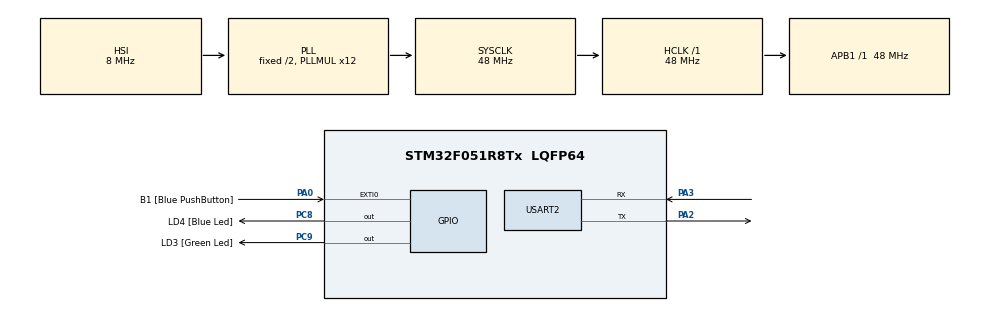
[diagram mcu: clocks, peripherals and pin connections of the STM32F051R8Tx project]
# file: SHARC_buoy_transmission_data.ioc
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Mcu.Family=STM32F0
Mcu.Name=STM32F051R8Tx
Mcu.Package=LQFP64
PA0.GPIO_Label=B1 [Blue PushButton]
PA0.GPIO_ModeDefaultEXTI=GPIO_MODE_EVT_RISING
PA0.Signal=GPXTI0
PA13.GPIO_Label=SWDIO
PA13.Mode=Serial_Wire
PA13.Signal=SYS_SWDIO
PA14.GPIO_Label=SWCLK
PA14.Mode=Serial_Wire
PA14.Signal=SYS_SWCLK
PA2.Mode=Asynchronous
PA2.Signal=USART2_TX
PA3.Mode=Asynchronous
PA3.Signal=USART2_RX
PC8.GPIO_Label=LD4 [Blue Led]
PC8.Signal=GPIO_Output
PC9.GPIO_Label=LD3 [Green Led]
PC9.Signal=GPIO_Output
ProjectManager.HeapSize=0x200
ProjectManager.StackSize=0x400
ProjectManager.TargetToolchain=STM32CubeIDE
RCC.AHBFreq_Value=48000000
RCC.APB1Freq_Value=48000000
RCC.APB1TimFreq_Value=48000000
RCC.HCLKFreq_Value=48000000
RCC.PLLMUL=RCC_PLL_MUL12
RCC.SYSCLKFreq_VALUE=48000000
RCC.SYSCLKSource=RCC_SYSCLKSOURCE_PLLCLK
USART2.VirtualMode-Asynchronous=VM_ASYNC
board=STM32F0DISCOVERY

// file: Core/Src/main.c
/* USER CODE BEGIN Header */
/**
  *************************************
Info:		SHARC buoy compression and encryption
Author:		Tristyn Ferreiro and Shameera Cassim
*************************************
This code compresses and encrypts data on the stm32.

Code is also provided to send data from the STM32 to other devices using UART protocol
by using HAL. You will need Putty or a Python script to read from the serial port on your PC.

In future versions, the data will be read from the sensor HAT ICM2098 chip
  ******************************************************************************
  */
/* USER CODE END Header */
#include "main.h"

/* USER CODE BEGIN Includes */
#include "stdio.h"
#include "stdlib.h"
#include "string.h"
/* USER CODE END Includes */

/* USER CODE BEGIN PD */

/* FOR COMPRESSION */
#define EI 11  /* typically 10..13 */
#define EJ  5  /* typically 4..5 */
#define P   1  /* If match length <= P then output one character */
#define N (1 << EI)  /* buffer size */
#define F ((1 << EJ) + 1)  /* lookahead buffer size */
//#define waveHat
/* USER CODE END PD */

 UART_HandleTypeDef huart2;

/* USER CODE BEGIN PV */
 uint8_t rxdata[4];
 int numRecordings =0; // this keeps track of the number of recordings.

 int bit_buffer = 0, bit_mask = 128;
 unsigned long codecount = 0, textcount = 0;
 unsigned char buffer[N * 2];
 // needs to be at least the size of the input data (minimum). this size should be the limit of data stored at any one time
 char compressed[4970000];
 int compressedBits =0;

 char inputData [200];

/* USER CODE END PV */

void SystemClock_Config(void);
static void MX_GPIO_Init(void);
static void MX_USART2_UART_Init(void);
/* USER CODE BEGIN PFP */
void pause_sec(float x);
void store(int bitbuffer);
void putbit1(void);
void flush_bit_buffer(void);
void output1(int c);
void output2(int x, int y);
void encode(char inputData[]);

/* USER CODE END PFP */

/* USER CODE BEGIN 0 */
//void HAL_UART_RxCpltCallback(UART_HandleTypeDef *huart)
//{
//	HAL_UART_Receive_IT(&huart2, rxdata,4); //restart interupt reception
//}
/* USER CODE END 0 */

int main(void)
{

  /* MCU Configuration--------------------------------------------------------*/

  /* Reset of all peripherals, Initializes the Flash interface and the Systick. */
  HAL_Init();

  /* Configure the system clock */
  SystemClock_Config();

  /* Initialize all configured peripherals */
  MX_GPIO_Init();
  MX_USART2_UART_Init();
  /* USER CODE BEGIN 2 */
  //HAL_UART_Receive_IT(&huart2, rxdata,4);

  // data is used to imitate the data that will be gathered from the sense HAT in future.

  char inputArray[] = "0.054000001,6,0.0024,-0.0006,3.856600046,-0.061000001,-0.061000001,0,34.83589935\n"
		  "0.066,7,0.0048,-0.003,4.239200115,0,-0.061000001,0,34.84180069\n"
		  "0.07,8,0.0048,-0.003,4.239200115,0,-0.061000001,0,34.84180069\n"
		  "0.082999997,9,0.0006,-0.006,4.485300064,0,-0.061000001,0,34.83589935\n"
		  "0.085000001,10,0.0006,-0.006,4.485300064,0,-0.061000001,0,34.83589935\n"
		  "0.101999998,11,-0.0006,-0.0048,4.633200169,-0.061000001,-0.061000001,0,34.81240082\n"
		  "0.109999999,12,0,-0.0042,4.732600212,-0.061000001,-0.061000001,0,34.82410049\n"
		  "0.112999998,13,0,-0.0042,4.732600212,-0.061000001,-0.061000001,0,34.82410049\n"
		  "0.131999999,14,0.003,-0.003,4.794199944,0,-0.061000001,0,34.83000183\n"
		  "0.140000001,15,-0.0006,-0.003,4.829599857,-0.061000001,-0.061000001,0,34.83000183\n"
		  "0.143999994,16,-0.0006,-0.003,4.829599857,-0.061000001,-0.061000001,0,34.83000183\n"
		  "0.156000003,17,-0.0006,-0.003,4.829599857,-0.061000001,-0.061000001,0,34.83000183\n"
		  "0.164000005,18,0,-0.006,4.858300209,-0.061000001,-0.061000001,0,34.81240082\n"
		  "0.172999993,19,-0.003,-0.0054,4.869699955,-0.061000001,-0.061000001,0,34.81240082\n"
		  "0.174999997,20,-0.003,-0.0054,4.869699955,-0.061000001,-0.061000001,0,34.81240082\n"
		  "0.187999994,21,-0.0042,-0.0054,4.879799843,0,-0.061000001,-0.061000001,34.84180069\n"
		  "0.192000002,22,-0.0042,-0.0054,4.879799843,0,-0.061000001,-0.061000001,34.84180069\n"
		  "0.211999997,23,-0.0054,-0.006,4.889999866,0,-0.061000001,0,34.81240082\n"
		  "0.221000001,24,-0.0072,-0.0042,4.89659977,-0.061000001,-0.061000001,0,34.83000183\n"
		  "0.224999994,25,-0.0072,-0.0042,4.89659977,-0.061000001,-0.061000001,0,34.83000183\n"
		  "0.241999999,26,-0.006,-0.0048,4.901400089,-0.061000001,-0.061000001,0,34.83000183\n"
		  "0.250999987,27,-0.003,-0.0012,4.902599812,-0.061000001,-0.061000001,-0.061000001,34.82410049\n"
		  "0.254999995,28,-0.003,-0.0012,4.902599812,-0.061000001,-0.061000001,-0.061000001,34.82410049\n"
		  "0.268000007,29,-0.0036,-0.0036,4.90320015,-0.061000001,-0.061000001,0,34.83589935\n"
		  "0.275999993,30,-0.003,0,4.899600029,0,-0.061000001,0,34.83000183\n"
		  "0.280000001,31,-0.003,0,4.899600029,0,-0.061000001,0,34.83000183\n"
		  "0.301999986,32,-0.003,-0.0006,4.900800228,0,-0.061000001,0,34.83000183\n"
		  "0.31099999,33,-0.0006,-0.0006,4.901400089,-0.061000001,-0.061000001,-0.061000001,34.84180069\n"
		  "0.31400001,34,-0.0006,-0.0006,4.901400089,-0.061000001,-0.061000001,-0.061000001,34.84180069\n"
		  "0.326000005,35,0,-0.0006,4.901400089,-0.061000001,-0.061000001,0,34.85350037\n"
		  "0.330000013,36,0,-0.0006,4.901400089,-0.061000001,-0.061000001,0,34.85350037";

  //This displays the header which explains the formating of the data outputed.
  uint8_t header2[81];
  sprintf(header2, "\r\nAccel X (g),Accel Y (g),Accel Z (g),Gyro X (dps),Gyro Y (dps),Gyro Z (dps),Temp");
  HAL_UART_Transmit(&huart2, header2, sizeof(header2), 1000);

  /* USER CODE END 2 */

  /* Infinite loop */
  while (1)
  {

    /* USER CODE BEGIN 3 */

	/*
	float accel[3];
	float gyro[3];
	float temp;

	while(numRecordings<(sizeof(data)/sizeof(data[0]))){
		pause_sec(2); //delay is implemented

		for(int i =0; i<3;i++){
		 		accel[i]=data[numRecordings][i];
		 		gyro[i]=data[numRecordings][i+3];
		}
		temp=data[numRecordings][6];

	    uint8_t msg[100];
	 */
	  /*
	  	      * FORMATTING BREAK DOWN:
	  	      * 0: the reading number (k-value)
	  	      *
	  	      * 94-100: spaces added at the end as buffer in case additional characters (like negative signs) appear
	  	      */
	  /*
	     sprintf(msg, "\r\n%.9f,%.9f,%.9f,%.9f,%.9f,%.9f,%.9f         ",accel[0],accel[1],accel[2],gyro[0],gyro[1],gyro[2],temp);
	     //sprintf(msg, "\r\n%.4f,%.4f,%.9f,%.9f,%.9f,%.9f,%.9f         ",accel[0],accel[1],accel[2],gyro[0],gyro[1],gyro[2],temp);

	  */

	  encode(inputArray);

	  uint8_t msg[compressedBits];
	  sprintf(msg, "%s",compressed);
	  HAL_UART_Transmit(&huart2, msg, sizeof(msg), 1000);

	  numRecordings++; //used for determining what size the compressed array should be set to
  }

  /* USER CODE END 3 */
}

void SystemClock_Config(void)
{
  RCC_OscInitTypeDef RCC_OscInitStruct = {0};
  RCC_ClkInitTypeDef RCC_ClkInitStruct = {0};

  /** Initializes the RCC Oscillators according to the specified parameters
  * in the RCC_OscInitTypeDef structure.
  */
  RCC_OscInitStruct.OscillatorType = RCC_OSCILLATORTYPE_HSI;
  RCC_OscInitStruct.HSIState = RCC_HSI_ON;
  RCC_OscInitStruct.HSICalibrationValue = RCC_HSICALIBRATION_DEFAULT;
  RCC_OscInitStruct.PLL.PLLState = RCC_PLL_ON;
  RCC_OscInitStruct.PLL.PLLSource = RCC_PLLSOURCE_HSI;
  RCC_OscInitStruct.PLL.PLLMUL = RCC_PLL_MUL12;
  RCC_OscInitStruct.PLL.PREDIV = RCC_PREDIV_DIV1;
  if (HAL_RCC_OscConfig(&RCC_OscInitStruct) != HAL_OK)
  {
    Error_Handler();
  }

  /** Initializes the CPU, AHB and APB buses clocks
  */
  RCC_ClkInitStruct.ClockType = RCC_CLOCKTYPE_HCLK|RCC_CLOCKTYPE_SYSCLK
                              |RCC_CLOCKTYPE_PCLK1;
  RCC_ClkInitStruct.SYSCLKSource = RCC_SYSCLKSOURCE_PLLCLK;
  RCC_ClkInitStruct.AHBCLKDivider = RCC_SYSCLK_DIV1;
  RCC_ClkInitStruct.APB1CLKDivider = RCC_HCLK_DIV1;

  if (HAL_RCC_ClockConfig(&RCC_ClkInitStruct, FLASH_LATENCY_1) != HAL_OK)
  {
    Error_Handler();
  }
}

static void MX_USART2_UART_Init(void)
{

  huart2.Instance = USART2;
  huart2.Init.BaudRate = 9600;
  huart2.Init.WordLength = UART_WORDLENGTH_8B;
  huart2.Init.StopBits = UART_STOPBITS_1;
  huart2.Init.Parity = UART_PARITY_NONE;
  huart2.Init.Mode = UART_MODE_TX_RX;
  huart2.Init.HwFlowCtl = UART_HWCONTROL_NONE;
  huart2.Init.OverSampling = UART_OVERSAMPLING_16;
  huart2.Init.OneBitSampling = UART_ONE_BIT_SAMPLE_DISABLE;
  huart2.AdvancedInit.AdvFeatureInit = UART_ADVFEATURE_NO_INIT;
  if (HAL_UART_Init(&huart2) != HAL_OK)
  {
    Error_Handler();
  }

}

static void MX_GPIO_Init(void)
{
  GPIO_InitTypeDef GPIO_InitStruct = {0};

  /* GPIO Ports Clock Enable */
  __HAL_RCC_GPIOA_CLK_ENABLE();
  __HAL_RCC_GPIOC_CLK_ENABLE();

  /*Configure GPIO pin Output Level */
  HAL_GPIO_WritePin(GPIOC, LD4_Pin|LD3_Pin, GPIO_PIN_RESET);

  /*Configure GPIO pin : B1_Pin */
  GPIO_InitStruct.Pin = B1_Pin;
  GPIO_InitStruct.Mode = GPIO_MODE_EVT_RISING;
  GPIO_InitStruct.Pull = GPIO_NOPULL;
  HAL_GPIO_Init(B1_GPIO_Port, &GPIO_InitStruct);

  /*Configure GPIO pins : LD4_Pin LD3_Pin */
  GPIO_InitStruct.Pin = LD4_Pin|LD3_Pin;
  GPIO_InitStruct.Mode = GPIO_MODE_OUTPUT_PP;
  GPIO_InitStruct.Pull = GPIO_NOPULL;
  GPIO_InitStruct.Speed = GPIO_SPEED_FREQ_LOW;
  HAL_GPIO_Init(GPIOC, &GPIO_InitStruct);

}

/* USER CODE BEGIN 4 */
void pause_sec(float x)
{
	/* Delay program execution for x seconds */

	//declare loop variables
	int i, j, k= 0;

	/*
	 * run through 2 for loops incrementing counter to ensure loop runs (no actual impact on code)
	 * Multiplying by x gives the delay for x seconds
	 */
	for (i = 0; i < 630; i++) {
		for(j = 0; j < 110*x; j++) { //
			k++; // this is added to ensure that the loop does run
		}
	}
}
/********************************
 * THIS IS THE COMPRESSION CODE
 *******************************/
void store(int bitbuffer){
    compressed[compressedBits]=bitbuffer;
    compressedBits++;
}

void putbit1(void)
{
    bit_buffer |= bit_mask;
    if ((bit_mask >>= 1) == 0) {
        store(bit_buffer);
        bit_buffer = 0;  bit_mask = 128;  codecount++;
    }
}

void putbit0(void)
{
    if ((bit_mask >>= 1) == 0) {
        store(bit_buffer);
        bit_buffer = 0;  bit_mask = 128;  codecount++;
    }
}

void flush_bit_buffer(void)
{
    if (bit_mask != 128) {
        store(bit_buffer);
        codecount++;
    }
}

void output1(int c)
{
    int mask;

    putbit1();
    mask = 256;
    while (mask >>= 1) {
        if (c & mask) putbit1();
        else putbit0();
    }
}

void output2(int x, int y)
{
    int mask;

    putbit0();
    mask = N;
    while (mask >>= 1) {
        if (x & mask) putbit1();
        else putbit0();
    }
    mask = (1 << EJ);
    while (mask >>= 1) {
        if (y & mask) putbit1();
        else putbit0();
    }
}

void encode(char inputData[])
{
    int i, j, f1, x, y, r, s, bufferend, c;

    int counter = 0;
    for (i = 0; i < N - F; i++) buffer[i] = ' ';
    for (i = N - F; i < N * 2; i++) {
        if ( counter >= sizeof(inputData)) break;
        c = inputData[counter];
        buffer[i] = c;  counter++;
    }
    bufferend = i;  r = N - F;  s = 0;
    while (r < bufferend) {
        f1 = (F <= bufferend - r) ? F : bufferend - r;
        x = 0;  y = 1;  c = buffer[r];
        for (i = r - 1; i >= s; i--)
            if (buffer[i] == c) {
                for (j = 1; j < f1; j++)
                    if (buffer[i + j] != buffer[r + j]) break;
                if (j > y) {
                    x = i;  y = j;
                }
            }
        if (y <= P) {  y = 1;  output1(c);  }
        else output2(x & (N - 1), y - 2);
        r += y;  s += y;
        if (r >= N * 2 - F) {
            for (i = 0; i < N; i++) buffer[i] = buffer[i + N];
            bufferend -= N;  r -= N;  s -= N;
            while (bufferend < N * 2) {
                if ( counter >= sizeof(inputData)) break;
                c = inputData[counter];
                buffer[bufferend++] = c;  counter++;
            }
        }
    }
    flush_bit_buffer();
}

/* USER CODE END 4 */

void Error_Handler(void)
{
  __disable_irq();
  while (1)
  {
  }
}
